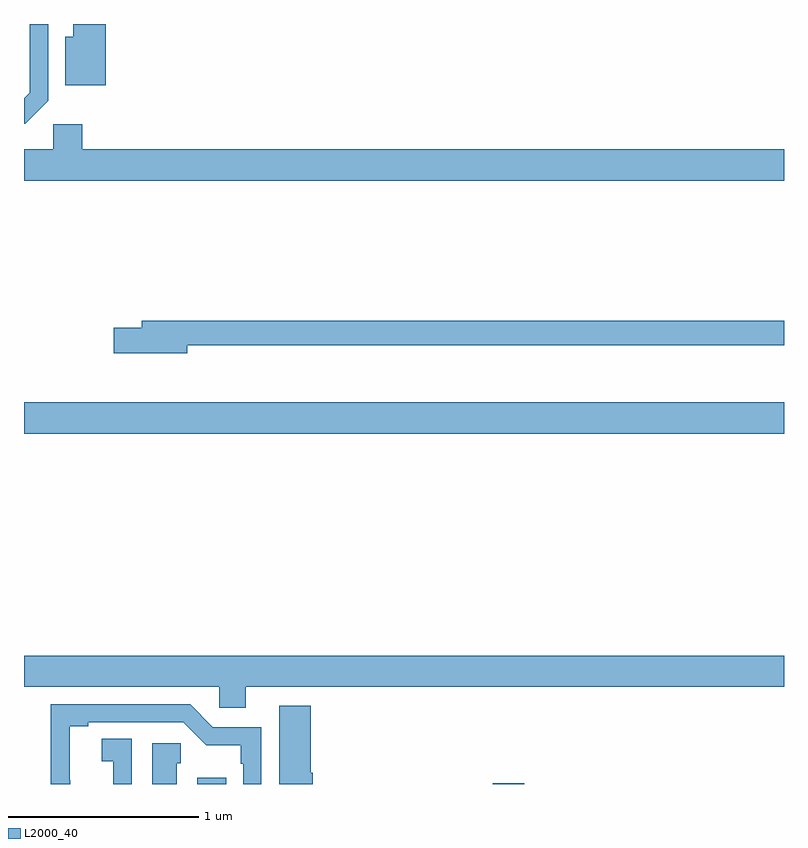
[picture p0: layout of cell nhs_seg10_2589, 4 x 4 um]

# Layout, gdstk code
import gdstk
lib = gdstk.Library(unit=1e-6, precision=1e-09)
def R(c, l, rs):  # rectangles x0, y0, x1, y1
    for r in rs: c.add(gdstk.rectangle(r[:2], r[2:], *l))
def P(c, l, *ps):  # polygons
    for p in ps: c.add(gdstk.Polygon(p, *l))
L2000_40 = (2000, 40)

nhs_seg10_2589 = lib.new_cell('nhs_seg10_2589')
R(nhs_seg10_2589, L2000_40, [(251.912,1270.5,252.064,1270.534), (253.466,1270.5,253.632,1270.504), (251,1272.344,255,1272.508)])
P(nhs_seg10_2589, L2000_40, [(251.429,1274.5),(251.258,1274.5),(251.258,1274.434),(251.216,1274.434),(251.216,1274.177),(251.429,1274.177)],
  [(251.127,1274.097),(251.127,1274.5),(251.031,1274.5),(251.031,1274.139),(251,1274.108),(251,1273.976),(251.006,1273.976)],
  [(255,1273.84),(251.306,1273.84),(251.306,1273.972),(251.154,1273.972),(251.154,1273.84),(251,1273.84),(251,1273.676),(255,1273.676)],
  [(251.86,1272.81),(255,1272.81),(255,1272.938),(251.621,1272.938),(251.621,1272.902),(251.472,1272.902),(251.472,1272.767),(251.86,1272.767)],
  [(252.166,1271.012),(255,1271.012),(255,1271.176),(251,1271.176),(251,1271.012),(252.027,1271.012),(252.027,1270.902),(252.166,1270.902)],
  [(251.244,1270.521),(251.242,1270.521),(251.242,1270.804),(251.338,1270.804),(251.338,1270.824),(251.838,1270.824),(251.959,1270.703),(252.141,1270.703),(252.141,1270.607),(252.153,1270.607),(252.153,1270.5),(252.249,1270.5),(252.249,1270.8),(251.994,1270.8),(251.874,1270.92),(251.14,1270.92),(251.14,1270.5),(251.244,1270.5)],
  [(252.521,1270.558),(252.508,1270.558),(252.508,1270.912),(252.344,1270.912),(252.344,1270.5),(252.521,1270.5)],
  [(251.568,1270.739),(251.409,1270.739),(251.409,1270.619),(251.47,1270.619),(251.47,1270.5),(251.568,1270.5)],
  [(251.803,1270.608),(251.825,1270.608),(251.825,1270.714),(251.675,1270.714),(251.675,1270.5),(251.803,1270.5)])

lib.write_gds('nhs_seg10_2589.gds')
